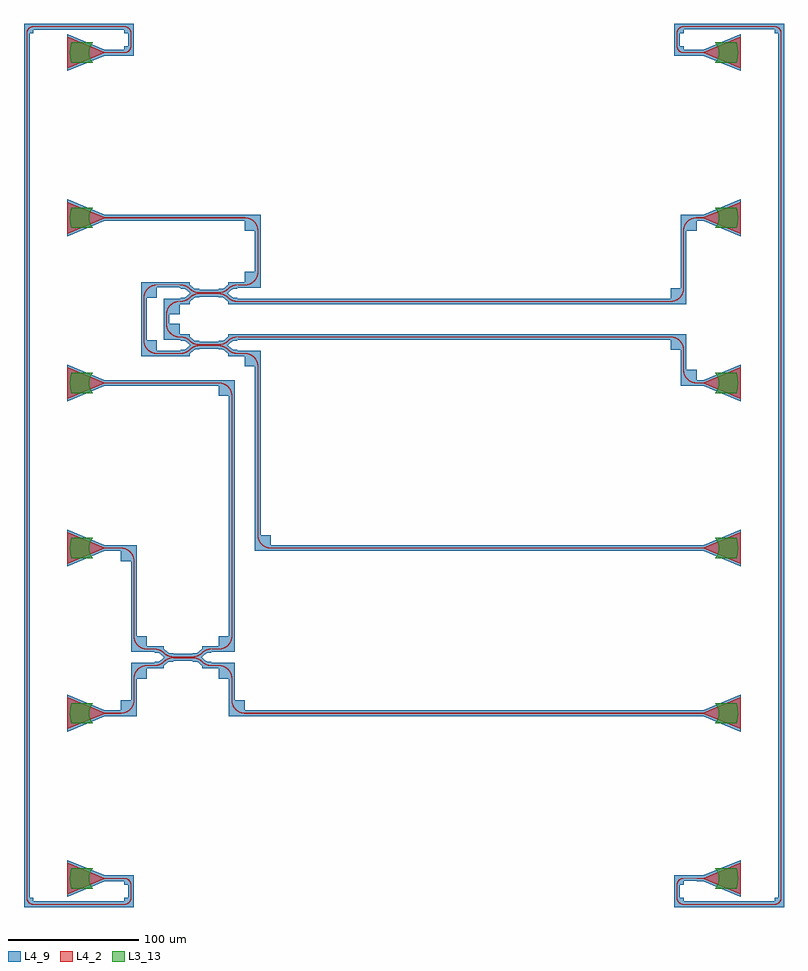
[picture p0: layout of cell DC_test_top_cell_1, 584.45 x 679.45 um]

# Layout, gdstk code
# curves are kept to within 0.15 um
from math import pi, radians
import gdstk
lib = gdstk.Library(unit=1e-6, precision=5e-09)
def R(c, l, rs):  # rectangles x0, y0, x1, y1
    for r in rs: c.add(gdstk.rectangle(r[:2], r[2:], *l))
def P(c, l, *ps):  # polygons
    for p in ps: c.add(gdstk.Polygon(p, *l))
L3_13 = (3, 13)
L4_2 = (4, 2)
L4_9 = (4, 9)

dc_test_top_cell_1fashun = lib.new_cell('DC_test_top_cell_1FAshunt')
R(dc_test_top_cell_1fashun, L4_2, [(0,-0.225,635,0.225)])
P(dc_test_top_cell_1fashun, L4_9, [(0,-2.225),(635,-2.225),(635,-0.225),(635,0.225),(635,2.225),(0,2.225),(0,0.225),(0,-0.225)])

fibcoupg_1_socket = lib.new_cell('FIBCOUPG_1_socket')
P(fibcoupg_1_socket, L4_2, [(20,-0.225),(20,0.225),(-8.74,12.095),(-8.79,12.095),(-8.79,-12.095),(-8.74,-12.095)])
P(fibcoupg_1_socket, L4_9, [(20,-2.225),(20,-0.225),(20,0.225),(20,2.225),(-8.74,14.095),(-8.79,14.095),(-8.79,12.095),(-8.79,-12.095),(-8.79,-14.095),(-8.74,-14.095)])

fibcoupg_1_grating = lib.new_cell('FIBCOUPG_1_grating')
P(fibcoupg_1_grating, L3_13, [(10.6,7.76),(10.635,7.65),(9.89,6.635),(9.255,5.55),(8.59,4.01),(8.34,3.21),(8.105,2.19),(7.96,1.15),(7.91,0.315),(7.93,-0.735),(8.01,-1.57),(8.235,-2.805),(8.46,-3.615),(8.815,-4.6),(9.255,-5.55),(9.89,-6.635),(10.635,-7.65),(10.6,-7.76),(10.505,-7.835),(10.39,-7.85),(9.75,-6.99),(9.075,-5.885),(8.695,-5.115),(8.225,-3.915),(7.93,-2.88),(7.725,-1.82),(7.615,-0.755),(7.595,0.325),(7.67,1.395),(7.84,2.46),(8.095,3.5),(8.525,4.72),(9.075,5.885),(9.75,6.99),(10.39,7.85),(10.505,7.835)],
  [(9.795,7.765),(9.84,7.655),(9.21,6.74),(8.665,5.775),(8.375,5.175),(7.97,4.14),(7.71,3.29),(7.47,2.21),(7.345,1.33),(7.28,0.22),(7.37,-1.55),(7.555,-2.645),(7.77,-3.505),(8.12,-4.56),(8.565,-5.575),(9.21,-6.74),(9.84,-7.655),(9.795,-7.765),(9.7,-7.835),(9.585,-7.845),(8.945,-6.91),(8.385,-5.92),(7.91,-4.885),(7.6,-4.03),(7.16,-2.265),(7.01,-1.135),(6.96,0),(7.01,1.135),(7.16,2.265),(7.405,3.375),(7.75,4.46),(8.28,5.715),(8.945,6.91),(9.585,7.845),(9.7,7.835)],
  [(9.015,7.765),(9.065,7.66),(8.56,6.89),(8.01,5.88),(7.635,5.04),(7.32,4.18),(7.06,3.3),(6.825,2.175),(6.705,1.26),(6.65,0.345),(6.73,-1.49),(7.06,-3.3),(7.39,-4.395),(7.815,-5.465),(8.33,-6.49),(9.065,-7.66),(8.92,-7.835),(8.805,-7.84),(8.29,-7.05),(7.73,-6.02),(7.255,-4.945),(6.88,-3.83),(6.6,-2.685),(6.445,-1.76),(6.355,-0.825),(6.335,0.355),(6.395,1.29),(6.555,2.455),(6.815,3.605),(7.175,4.725),(7.73,6.02),(8.29,7.05),(8.805,7.84),(8.92,7.835)],
  [(8.255,7.77),(8.305,7.665),(7.8,6.835),(7.255,5.755),(6.655,4.175),(6.455,3.475),(6.205,2.29),(6.08,1.33),(6.02,0.365),(6.03,-0.605),(6.105,-1.57),(6.205,-2.29),(6.455,-3.475),(6.805,-4.63),(7.255,-5.755),(7.8,-6.835),(8.305,-7.665),(8.255,-7.77),(8.155,-7.835),(8.04,-7.835),(7.41,-6.775),(6.97,-5.885),(6.68,-5.2),(6.28,-4.03),(6.035,-3.07),(5.855,-2.095),(5.745,-1.115),(5.705,0.37),(5.765,1.36),(5.985,2.83),(6.28,4.03),(6.51,4.735),(6.97,5.885),(7.65,7.205),(8.04,7.835),(8.155,7.835)],
  [(7.51,7.77),(7.56,7.67),(7.06,6.79),(6.525,5.65),(5.94,3.985),(5.7,3.005),(5.525,2.01),(5.39,0.25),(5.465,-1.51),(5.605,-2.51),(5.81,-3.495),(6.085,-4.47),(6.525,-5.65),(7.06,-6.79),(7.56,-7.67),(7.51,-7.77),(7.29,-7.83),(6.44,-6.245),(6.135,-5.535),(5.71,-4.32),(5.445,-3.32),(5.25,-2.31),(5.15,-1.545),(5.07,0),(5.15,1.545),(5.25,2.31),(5.445,3.32),(5.785,4.565),(6.135,5.535),(6.78,6.935),(7.29,7.83)],
  [(6.775,7.77),(6.83,7.67),(6.33,6.74),(5.895,5.78),(5.3,4.035),(4.92,2.23),(4.805,1.185),(4.76,0.13),(4.825,-1.445),(5.11,-3.27),(5.45,-4.54),(5.895,-5.78),(6.33,-6.74),(6.83,-7.67),(6.775,-7.77),(6.555,-7.83),(6.045,-6.88),(5.605,-5.9),(5.23,-4.89),(4.93,-3.86),(4.65,-2.545),(4.54,-1.745),(4.445,0.135),(4.49,1.21),(4.61,2.28),(4.805,3.335),(5.07,4.38),(5.505,5.65),(6.045,6.88),(6.555,7.83)],
  [(6.05,7.775),(6.105,7.675),(5.49,6.44),(5.08,5.415),(4.595,3.83),(4.28,2.2),(4.13,0.275),(4.135,-0.55),(4.215,-1.655),(4.53,-3.56),(4.815,-4.625),(5.175,-5.67),(5.605,-6.69),(6.105,-7.675),(6.05,-7.775),(5.945,-7.83),(5.83,-7.825),(5.09,-6.305),(4.69,-5.255),(4.36,-4.175),(4.055,-2.805),(3.93,-1.965),(3.81,0),(3.93,1.965),(4.165,3.355),(4.435,4.45),(4.88,5.785),(5.44,7.075),(5.83,7.825)],
  [(5.335,7.775),(5.39,7.68),(4.895,6.65),(4.38,5.32),(3.91,3.675),(3.585,1.71),(3.5,0.285),(3.505,-0.57),(3.585,-1.71),(3.85,-3.4),(4.205,-4.78),(4.57,-5.86),(5.39,-7.68),(5.335,-7.775),(5.225,-7.83),(5.11,-7.82),(4.495,-6.51),(4.08,-5.425),(3.67,-4.03),(3.305,-2.03),(3.18,0),(3.245,1.45),(3.385,2.605),(3.82,4.59),(4.175,5.695),(4.85,7.305),(5.11,7.82),(5.225,7.83)],
  [(4.625,7.775),(4.685,7.68),(3.875,5.785),(3.595,4.945),(3.295,3.8),(2.99,2.06),(2.87,0.295),(2.93,-1.475),(3.23,-3.515),(3.775,-5.505),(4.08,-6.335),(4.685,-7.68),(4.625,-7.775),(4.515,-7.83),(4.405,-7.82),(3.9,-6.73),(3.475,-5.605),(3.055,-4.165),(2.81,-2.99),(2.68,-2.095),(2.55,0),(2.68,2.095),(2.865,3.285),(3.13,4.455),(3.475,5.605),(4.02,7.005),(4.405,7.82),(4.515,7.83)],
  [(3.92,7.78),(3.985,7.685),(3.28,5.99),(2.99,5.12),(2.68,3.94),(2.365,2.135),(2.24,0.305),(2.26,-0.915),(2.33,-1.83),(2.555,-3.34),(2.75,-4.235),(3.08,-5.41),(3.495,-6.565),(3.985,-7.685),(3.815,-7.83),(3.7,-7.815),(3.2,-6.68),(2.78,-5.51),(2.445,-4.31),(2.245,-3.4),(2.055,-2.17),(1.945,-0.93),(1.92,0),(1.965,1.245),(2.095,2.48),(2.305,3.705),(2.52,4.615),(2.98,6.095),(3.44,7.255),(3.7,7.815),(3.815,7.83)],
  [(3.225,7.78),(3.29,7.685),(2.585,5.92),(2.22,4.705),(2,3.78),(1.74,2.215),(1.61,0.315),(1.675,-1.585),(1.935,-3.465),(2.14,-4.395),(2.485,-5.615),(2.8,-6.515),(3.29,-7.685),(3.225,-7.78),(3.115,-7.83),(3.005,-7.815),(2.505,-6.625),(2.09,-5.405),(1.76,-4.16),(1.515,-2.89),(1.39,-1.93),(1.29,0),(1.39,1.93),(1.57,3.21),(1.835,4.47),(2.285,6.02),(2.745,7.225),(3.005,7.815),(3.115,7.83)],
  [(2.535,7.78),(2.6,7.69),(1.895,5.84),(1.385,3.93),(1.115,2.3),(0.98,0.33),(1.05,-1.645),(1.26,-3.28),(1.535,-4.57),(1.795,-5.525),(2.11,-6.465),(2.6,-7.69),(2.425,-7.83),(2.31,-7.81),(1.7,-6.255),(1.15,-4.32),(0.895,-3.005),(0.765,-2.005),(0.66,0),(0.765,2.005),(0.895,3.005),(1.15,4.32),(1.595,5.935),(2.05,7.195),(2.31,7.81),(2.425,7.83)],
  [(1.845,7.78),(1.915,7.69),(1.22,5.795),(0.725,3.84),(0.435,1.845),(0.35,0.17),(0.405,-1.51),(0.605,-3.18),(0.795,-4.17),(1.125,-5.475),(1.43,-6.435),(1.915,-7.69),(1.735,-7.83),(1.625,-7.81),(1.245,-6.86),(0.82,-5.56),(0.485,-4.235),(0.295,-3.23),(0.12,-1.875),(0.035,0.17),(0.09,1.535),(0.195,2.555),(0.56,4.57),(0.92,5.89),(1.495,7.495),(1.625,7.81),(1.735,7.83)],
  [(1.165,7.785),(1.23,7.69),(0.535,5.705),(0.115,4.005),(-0.155,2.275),(-0.28,0.175),(-0.22,-1.575),(-0.01,-3.315),(0.44,-5.37),(0.745,-6.375),(1.23,-7.69),(1.165,-7.785),(1.055,-7.83),(0.94,-7.81),(0.56,-6.81),(0.135,-5.45),(-0.12,-4.415),(-0.47,-2.31),(-0.58,-0.89),(-0.595,0.18),(-0.47,2.31),(-0.26,3.72),(-0.04,4.765),(0.445,6.475),(0.94,7.81),(1.055,7.83)],
  [(0.485,7.785),(0.555,7.695),(-0.035,6),(-0.545,3.915),(-0.8,2.145),(-0.91,0.36),(-0.865,-1.43),(-0.665,-3.21),(-0.475,-4.265),(-0.135,-5.655),(0.555,-7.695),(0.375,-7.83),(0.26,-7.805),(-0.115,-6.785),(-0.435,-5.745),(-0.78,-4.33),(-1.115,-2.175),(-1.23,0),(-1.18,1.455),(-1.075,2.54),(-0.705,4.685),(-0.335,6.09),(0.13,7.47),(0.26,7.805),(0.375,7.83)],
  [(-0.19,7.785),(-0.12,7.695),(-0.815,5.555),(-1.22,3.73),(-1.425,2.245),(-1.54,0.375),(-1.49,-1.495),(-1.28,-3.36),(-0.815,-5.555),(-0.12,-7.695),(-0.19,-7.785),(-0.305,-7.825),(-0.415,-7.805),(-0.91,-6.37),(-1.46,-4.155),(-1.74,-2.275),(-1.86,0),(-1.74,2.275),(-1.385,4.53),(-1.015,6.005),(-0.55,7.45),(-0.415,7.805)],
  [(-0.865,7.785),(-0.795,7.695),(-1.38,5.87),(-1.81,4.005),(-2.035,2.485),(-2.17,0.19),(-2.105,-1.725),(-1.935,-3.245),(-1.48,-5.5),(-0.795,-7.695),(-0.865,-7.785),(-0.98,-7.825),(-1.09,-7.805),(-1.58,-6.33),(-2.12,-4.06),(-2.42,-1.75),(-2.485,0.195),(-2.345,2.52),(-1.965,4.82),(-1.58,6.33),(-1.09,7.805)],
  [(-1.535,7.785),(-1.465,7.7),(-2.045,5.825),(-2.465,3.905),(-2.72,1.96),(-2.8,0.395),(-2.75,-1.57),(-2.585,-3.13),(-2.145,-5.445),(-1.465,-7.7),(-1.535,-7.785),(-1.65,-7.825),(-1.76,-7.8),(-2.135,-6.67),(-2.45,-5.52),(-2.705,-4.35),(-2.995,-2.385),(-3.12,0),(-2.995,2.385),(-2.705,4.35),(-2.35,5.905),(-1.89,7.425),(-1.76,7.8),(-1.65,7.825)],
  [(-2.205,7.79),(-2.13,7.7),(-2.71,5.775),(-3.185,3.405),(-3.365,1.81),(-3.43,0.2),(-3.39,-1.405),(-3.24,-3.01),(-3.055,-4.2),(-2.805,-5.38),(-2.5,-6.55),(-2.13,-7.7),(-2.205,-7.79),(-2.32,-7.825),(-2.43,-7.8),(-2.8,-6.635),(-3.115,-5.455),(-3.365,-4.255),(-3.675,-1.835),(-3.745,0.205),(-3.705,1.425),(-3.6,2.645),(-3.205,5.055),(-2.8,6.635),(-2.43,7.8)],
  [(-2.87,7.79),(-2.795,7.7),(-3.375,5.72),(-3.71,4.105),(-3.975,2.06),(-4.06,0.41),(-4.03,-1.235),(-3.89,-2.88),(-3.71,-4.105),(-3.375,-5.72),(-2.795,-7.7),(-2.87,-7.79),(-2.985,-7.825),(-3.095,-7.8),(-3.465,-6.605),(-3.775,-5.39),(-4.02,-4.16),(-4.29,-2.085),(-4.38,0),(-4.29,2.085),(-4.15,3.335),(-3.945,4.57),(-3.575,6.2),(-3.095,7.8)],
  [(-3.535,7.79),(-3.46,7.7),(-4.035,5.665),(-4.43,3.585),(-4.62,1.905),(-4.69,0.21),(-4.65,-1.48),(-4.49,-3.165),(-4.13,-5.25),(-3.825,-6.485),(-3.46,-7.7),(-3.535,-7.79),(-3.65,-7.825),(-3.76,-7.8),(-4.015,-6.98),(-4.605,-4.475),(-4.935,-1.925),(-5.005,0.215),(-4.895,2.355),(-4.525,4.9),(-4.24,6.155),(-3.76,7.8)],
  [(-4.2,7.79),(-4.12,7.705),(-4.595,6.03),(-5.02,3.895),(-5.23,2.17),(-5.32,0.435),(-5.29,-1.305),(-5.14,-3.035),(-4.95,-4.325),(-4.695,-5.605),(-4.12,-7.705),(-4.31,-7.825),(-4.425,-7.795),(-4.675,-6.955),(-5,-5.675),(-5.26,-4.38),(-5.545,-2.2),(-5.64,0),(-5.545,2.2),(-5.395,3.51),(-5.18,4.815),(-4.9,6.105),(-4.425,7.795),(-4.31,7.825)],
  [(-4.86,7.79),(-4.785,7.705),(-5.355,5.545),(-5.675,3.785),(-5.875,2.01),(-5.95,0.225),(-5.93,-1.115),(-5.79,-2.9),(-5.605,-4.225),(-5.355,-5.545),(-4.785,-7.705),(-4.86,-7.79),(-4.975,-7.825),(-5.085,-7.795),(-5.455,-6.49),(-5.915,-4.28),(-6.19,-2.035),(-6.265,0.225),(-6.15,2.485),(-5.84,4.725),(-5.455,6.49),(-5.085,7.795),(-4.975,7.825)],
  [(-5.52,7.79),(-5.44,7.705),(-5.915,5.925),(-6.33,3.665),(-6.485,2.295),(-6.58,0.46),(-6.545,-1.38),(-6.39,-3.21),(-6.01,-5.48),(-5.44,-7.705),(-5.635,-7.825),(-5.745,-7.795),(-6.115,-6.45),(-6.57,-4.17),(-6.835,-1.86),(-6.9,0),(-6.86,1.395),(-6.755,2.785),(-6.495,4.63),(-6.115,6.45),(-5.745,7.795),(-5.635,7.825)])

fibcoupg_1 = lib.new_cell('FIBCOUPG_1')
fibcoupg_1.add(gdstk.Reference(fibcoupg_1_socket, (0,0)))
fibcoupg_1.add(gdstk.Reference(fibcoupg_1_grating, (0,0)))

dc_test_top_cell_1fa_lin = lib.new_cell('DC_test_top_cell_1FA_link1')
R(dc_test_top_cell_1fa_lin, L4_2, [(20,-0.225,25,0.225)])
P(dc_test_top_cell_1fa_lin, L4_2, [(25,-0.225),(35.665,-0.27),(36.71,-0.54),(37.67,-1.04),(38.55,-1.805),(39.095,-2.54),(39.59,-3.685),(39.77,-4.75),(39.73,-15.665),(39.59,-16.315),(39.33,-17.02),(38.605,-18.135),(38.07,-18.66),(37.46,-19.095),(36.71,-19.46),(36.075,-19.655),(35.085,-19.775),(-35.085,-19.775),(-36.155,-19.635),(-36.71,-19.46),(-37.46,-19.095),(-38.435,-18.315),(-38.815,-17.875),(-39.255,-17.17),(-39.67,-15.995),(-39.775,-15.085),(-39.775,0),(-40.225,0),(-40.225,-15.09),(-40.07,-16.265),(-39.775,-17.125),(-39.48,-17.69),(-39.005,-18.36),(-38.36,-19.005),(-37.615,-19.525),(-36.87,-19.88),(-35.995,-20.13),(-35.275,-20.22),(35.09,-20.225),(36.265,-20.07),(36.87,-19.88),(37.615,-19.525),(38.145,-19.175),(38.76,-18.63),(39.175,-18.145),(39.615,-17.455),(39.97,-16.615),(40.13,-15.995),(40.225,-15.09),(40.22,-4.725),(40.025,-3.56),(39.525,-2.385),(38.945,-1.57),(37.995,-0.72),(36.87,-0.12),(35.725,0.175),(35.09,0.225),(25,0.225)])
R(dc_test_top_cell_1fa_lin, L4_9, [(-42.225,-22.225,-35,-15), (35,-22.225,42.225,-15), (35,-5,42.225,2.225)])
P(dc_test_top_cell_1fa_lin, L4_9, [(20,2.225),(20,0.225),(20,-0.225),(20,-2.225),(25,-2.225),(25,-0.225),(25,0.225),(25,2.225)],
  [(25,-2.225),(35.195,-2.23),(36.43,-2.62),(37.275,-3.41),(37.775,-4.905),(37.75,-15.385),(36.995,-16.93),(35.625,-17.705),(-35.625,-17.705),(-36.995,-16.93),(-37.75,-15.385),(-37.775,0),(-42.225,0),(-42.225,-15.125),(-42.04,-16.625),(-41.195,-18.72),(-39.74,-20.455),(-37.825,-21.65),(-35.63,-22.2),(35.125,-22.225),(36.625,-22.04),(38.505,-21.32),(40.11,-20.11),(41.32,-18.505),(42.04,-16.625),(42.225,-15.125),(42.215,-4.62),(41.91,-2.89),(41.195,-1.28),(40.37,-0.165),(39.145,0.92),(36.625,2.04),(35.125,2.225),(25,2.225)])

c_dc_test_top_cell_1fa_lin = lib.new_cell('DC_test_top_cell_1FA_link2')
R(c_dc_test_top_cell_1fa_lin, L4_2, [(20,634.775,25,635.225)])
P(c_dc_test_top_cell_1fa_lin, L4_2, [(25,634.775),(35.09,634.775),(35.995,634.87),(37.125,635.225),(38.145,635.825),(39.005,636.64),(39.615,637.545),(40.025,638.56),(40.22,639.725),(40.225,650.09),(40.13,650.995),(39.97,651.615),(39.615,652.455),(39.175,653.145),(38.76,653.63),(38.145,654.175),(37.615,654.525),(36.87,654.88),(36.265,655.07),(35.09,655.225),(-35.275,655.22),(-35.995,655.13),(-36.87,654.88),(-37.615,654.525),(-38.36,654.005),(-39.005,653.36),(-39.48,652.69),(-39.775,652.125),(-40.07,651.265),(-40.225,650.09),(-40.225,635),(-39.775,635),(-39.775,650.085),(-39.67,650.995),(-39.255,652.17),(-38.815,652.875),(-38.435,653.315),(-37.46,654.095),(-36.71,654.46),(-36.155,654.635),(-35.085,654.775),(35.085,654.775),(36.155,654.635),(36.71,654.46),(37.46,654.095),(38.07,653.66),(38.605,653.135),(39.33,652.02),(39.59,651.315),(39.73,650.665),(39.77,639.75),(39.59,638.685),(39.095,637.54),(38.605,636.865),(37.875,636.185),(37.02,635.67),(36.075,635.345),(35.085,635.225),(25,635.225)])
R(c_dc_test_top_cell_1fa_lin, L4_9, [(35,632.775,42.225,640), (-42.225,650,-35,657.225), (35,650,42.225,657.225)])
P(c_dc_test_top_cell_1fa_lin, L4_9, [(20,637.225),(20,635.225),(20,634.775),(20,632.775),(25,632.775),(25,634.775),(25,635.225),(25,637.225)],
  [(25,632.775),(35.125,632.775),(36.625,632.96),(38.055,633.45),(39.45,634.305),(40.535,635.355),(41.44,636.72),(41.98,638.13),(42.215,639.62),(42.225,650.125),(42.04,651.625),(41.32,653.505),(40.11,655.11),(38.505,656.32),(36.87,656.98),(35.125,657.225),(-35.63,657.2),(-37.705,656.7),(-39.645,655.535),(-41.06,653.935),(-41.98,651.87),(-42.225,650.125),(-42.225,635),(-37.775,635),(-37.75,650.385),(-36.995,651.93),(-35.625,652.705),(35.81,652.655),(37.125,651.785),(37.75,650.385),(37.775,639.905),(37.45,638.695),(36.59,637.725),(35.385,637.25),(25,637.225)])

dc_test_top_cell_1fa = lib.new_cell('DC_test_top_cell_1FA')
dc_test_top_cell_1fa.add(gdstk.Reference(dc_test_top_cell_1fashun, (-40,0), rotation=pi/2))
dc_test_top_cell_1fa.add(gdstk.Reference(fibcoupg_1, (0,127)))
dc_test_top_cell_1fa.add(gdstk.Reference(fibcoupg_1, (0,0)))
dc_test_top_cell_1fa.add(gdstk.Reference(fibcoupg_1, (0,381)))
dc_test_top_cell_1fa.add(gdstk.Reference(fibcoupg_1, (0,254)))
dc_test_top_cell_1fa.add(gdstk.Reference(fibcoupg_1, (0,635)))
dc_test_top_cell_1fa.add(gdstk.Reference(fibcoupg_1, (0,508)))
dc_test_top_cell_1fa.add(gdstk.Reference(dc_test_top_cell_1fa_lin, (0,0)))
dc_test_top_cell_1fa.add(gdstk.Reference(c_dc_test_top_cell_1fa_lin, (0,0)))

dc_test_top_cell_1dctrac = lib.new_cell('DC_test_top_cell_1dctrace')
P(dc_test_top_cell_1dctrac, L4_2, [(-4.145,-0.225),(-2.78,-0.32),(-1.775,-0.515),(-0.8,-0.815),(0.295,-1.29),(1.04,-1.71),(1.875,-2.295),(3.57,-3.835),(4.275,-4.375),(5.34,-5.03),(6.31,-5.48),(7.325,-5.83),(8.545,-6.1),(9.785,-6.22),(11,-6.225),(11,-5.775),(9.29,-5.74),(8.275,-5.595),(6.8,-5.185),(5.705,-4.71),(4.96,-4.29),(4.125,-3.705),(2.43,-2.165),(1.725,-1.625),(0.66,-0.97),(-0.31,-0.52),(-1.84,-0.035),(-3.43,0.2),(-4.145,0.225)])
R(dc_test_top_cell_1dctrac, L4_9, [(3.07,-8.225,10.14,-3.07), (-4.14,-2.93,2.93,2.225)])
P(dc_test_top_cell_1dctrac, L4_9, [(-4.005,-2.225),(-2.26,-2.455),(-0.61,-3.07),(3.305,-6.135),(5.76,-7.415),(8.23,-8.075),(11,-8.225),(11,-3.775),(8.525,-3.605),(6.61,-2.93),(2.695,0.135),(0.24,1.415),(-2.02,2.04),(-4.145,2.225)])

straight_dc_1wg = lib.new_cell('straight_DC_1wg')
R(straight_dc_1wg, L4_2, [(-7.495,-0.225,7.495,0.225)])
P(straight_dc_1wg, L4_9, [(-7.495,-2.225),(7.495,-2.225),(7.495,-0.225),(7.495,0.225),(7.495,2.225),(-7.495,2.225),(-7.495,0.225),(-7.495,-0.225)])

straight_dc_1 = lib.new_cell('straight_DC_1')
straight_dc_1.add(gdstk.Reference(straight_dc_1wg, (0,0.34)))
straight_dc_1.add(gdstk.Reference(straight_dc_1wg, (0,-0.34)))

dc_test_top_cell_1dc = lib.new_cell('DC_test_top_cell_1dc')
dc_test_top_cell_1dc.add(gdstk.Reference(dc_test_top_cell_1dctrac, (11.64,0.34), x_reflection=True))
dc_test_top_cell_1dc.add(gdstk.Reference(dc_test_top_cell_1dctrac, (11.64,-0.34)))
dc_test_top_cell_1dc.add(gdstk.Reference(dc_test_top_cell_1dctrac, (-11.64,0.34), rotation=pi))
dc_test_top_cell_1dc.add(gdstk.Reference(straight_dc_1, (0,0)))
dc_test_top_cell_1dc.add(gdstk.Reference(dc_test_top_cell_1dctrac, (-11.64,-0.34), rotation=pi, x_reflection=True))

wg_trace_1 = lib.new_cell('WG_TRACE_1')
R(wg_trace_1, L4_2, [(0,-0.225,1,0.225)])
P(wg_trace_1, L4_9, [(0,-2.225),(1,-2.225),(1,-0.225),(1,0.225),(1,2.225),(0,2.225),(0,0.225),(0,-0.225)])

dc_test_top_cell_1mzidct = lib.new_cell('DC_test_top_cell_1MZIDCtrace')
P(dc_test_top_cell_1mzidct, L4_2, [(-4.145,-0.225),(-2.78,-0.32),(-1.775,-0.515),(-0.8,-0.815),(0.295,-1.29),(1.04,-1.71),(1.875,-2.295),(3.57,-3.835),(4.275,-4.375),(5.34,-5.03),(6.31,-5.48),(7.325,-5.83),(8.545,-6.1),(9.785,-6.22),(11,-6.225),(11,-5.775),(9.29,-5.74),(8.275,-5.595),(6.8,-5.185),(5.705,-4.71),(4.96,-4.29),(4.125,-3.705),(2.43,-2.165),(1.725,-1.625),(0.66,-0.97),(-0.31,-0.52),(-1.84,-0.035),(-3.43,0.2),(-4.145,0.225)])
R(dc_test_top_cell_1mzidct, L4_9, [(3.07,-8.225,10.14,-3.07), (-4.14,-2.93,2.93,2.225)])
P(dc_test_top_cell_1mzidct, L4_9, [(-4.005,-2.225),(-2.26,-2.455),(-0.61,-3.07),(3.305,-6.135),(5.76,-7.415),(8.23,-8.075),(11,-8.225),(11,-3.775),(8.525,-3.605),(6.61,-2.93),(2.695,0.135),(0.24,1.415),(-2.02,2.04),(-4.145,2.225)])

straight_dc_3wg = lib.new_cell('straight_DC_3wg')
R(straight_dc_3wg, L4_2, [(-7.495,-0.225,7.495,0.225)])
P(straight_dc_3wg, L4_9, [(-7.495,-2.225),(7.495,-2.225),(7.495,-0.225),(7.495,0.225),(7.495,2.225),(-7.495,2.225),(-7.495,0.225),(-7.495,-0.225)])

straight_dc_3 = lib.new_cell('straight_DC_3')
straight_dc_3.add(gdstk.Reference(straight_dc_3wg, (0,0.34)))
straight_dc_3.add(gdstk.Reference(straight_dc_3wg, (0,-0.34)))

dc_test_top_cell_1mzidc = lib.new_cell('DC_test_top_cell_1MZIDC')
dc_test_top_cell_1mzidc.add(gdstk.Reference(dc_test_top_cell_1mzidct, (11.64,0.34), x_reflection=True))
dc_test_top_cell_1mzidc.add(gdstk.Reference(dc_test_top_cell_1mzidct, (11.64,-0.34)))
dc_test_top_cell_1mzidc.add(gdstk.Reference(dc_test_top_cell_1mzidct, (-11.64,0.34), rotation=pi))
dc_test_top_cell_1mzidc.add(gdstk.Reference(straight_dc_3, (0,0)))
dc_test_top_cell_1mzidc.add(gdstk.Reference(dc_test_top_cell_1mzidct, (-11.64,-0.34), rotation=pi, x_reflection=True))

dc_test_top_cell_1mzi_li = lib.new_cell('DC_test_top_cell_1MZI_link1')
P(dc_test_top_cell_1mzi_li, L4_2, [(22.64,-6.565),(23.49,-6.6),(24.505,-6.745),(25.5,-6.99),(26.3,-7.275),(27.08,-7.63),(27.965,-8.14),(28.66,-8.635),(29.43,-9.31),(30.13,-10.055),(30.745,-10.875),(31.64,-12.52),(32.165,-14.14),(32.32,-14.98),(32.415,-16.17),(32.38,-24.51),(32.235,-25.525),(31.99,-26.52),(31.64,-27.48),(31.19,-28.4),(30.55,-29.405),(29.79,-30.325),(28.925,-31.15),(27.965,-31.86),(26.77,-32.52),(25.5,-33.01),(24.17,-33.315),(22.64,-33.435),(22.64,-33.885),(22.82,-33.885),(24.24,-33.76),(25.46,-33.49),(26.8,-33),(27.755,-32.515),(28.795,-31.825),(29.745,-31.015),(30.805,-29.815),(31.495,-28.775),(31.98,-27.82),(32.31,-26.99),(32.605,-25.96),(32.81,-24.73),(32.865,-23.84),(32.865,-16.16),(32.79,-15.095),(32.605,-14.04),(32.31,-13.01),(31.98,-12.18),(31.495,-11.225),(31.015,-10.475),(30.475,-9.765),(29.615,-8.86),(28.795,-8.175),(27.905,-7.575),(26.8,-7),(25.97,-6.67),(24.415,-6.27),(22.995,-6.12),(22.64,-6.115)])
R(dc_test_top_cell_1mzi_li, L4_9, [(22.64,-35.885,34.865,-23.66), (22.64,-16.34,34.865,-4.115)])
P(dc_test_top_cell_1mzi_li, L4_9, [(22.64,-8.565),(25.555,-9.13),(26.99,-9.895),(28.14,-10.84),(29.085,-11.99),(29.85,-13.425),(30.415,-16.205),(30.405,-24.065),(29.9,-26.445),(28.85,-28.34),(27.1,-30.03),(25.045,-31.055),(22.64,-31.435),(22.64,-35.885),(22.855,-35.885),(25.805,-35.47),(28.755,-34.245),(31.285,-32.305),(33.12,-29.955),(34.2,-27.64),(34.775,-25.15),(34.865,-16.125),(34.45,-13.175),(33.435,-10.6),(31.725,-8.16),(29.3,-6.085),(26.215,-4.65),(22.64,-4.115)])

c_dc_test_top_cell_1mzi_li = lib.new_cell('DC_test_top_cell_1MZI_link2')
P(c_dc_test_top_cell_1mzi_li, L4_2, [(22.64,6.115),(40.85,6.08),(42.365,5.825),(43.82,5.34),(45.325,4.54),(46.665,3.49),(47.705,2.36),(48.2,1.665),(48.71,0.78),(49.35,-0.8),(49.655,-2.13),(49.775,-3.49),(49.775,-20),(50.225,-20),(50.225,-3.48),(50.15,-2.415),(49.78,-0.67),(49.03,1.14),(48.165,2.495),(46.975,3.82),(45.57,4.915),(44.16,5.68),(42.82,6.17),(41.07,6.51),(40.18,6.565),(22.64,6.565)])
R(c_dc_test_top_cell_1mzi_li, L4_9, [(40,-3.66,52.225,8.565)])
P(c_dc_test_top_cell_1mzi_li, L4_9, [(22.64,4.115),(40.68,4.085),(42.915,3.55),(45,2.295),(46.8,0.11),(47.7,-2.58),(47.775,-20),(52.225,-20),(52.225,-3.445),(52.04,-1.535),(51.49,0.52),(50.48,2.635),(49.365,4.2),(47.695,5.84),(44.775,7.595),(41.28,8.5),(22.64,8.565)])

c_dc_test_top_cell_1mzi_li_ = lib.new_cell('DC_test_top_cell_1MZI_link3')
P(c_dc_test_top_cell_1mzi_li_, L4_2, [(49.775,-21),(49.775,-36.51),(49.68,-37.7),(49.35,-39.2),(48.71,-40.78),(48.2,-41.665),(47.705,-42.36),(46.665,-43.49),(45.325,-44.54),(44.13,-45.2),(42.86,-45.69),(41.36,-46.02),(40.17,-46.115),(22.64,-46.115),(22.64,-46.565),(40.18,-46.565),(41.07,-46.51),(42.82,-46.17),(44.16,-45.68),(45.57,-44.915),(46.975,-43.82),(48.165,-42.495),(49.03,-41.14),(49.78,-39.33),(50.15,-37.585),(50.225,-36.52),(50.225,-21)])
R(c_dc_test_top_cell_1mzi_li_, L4_9, [(40,-48.565,52.225,-36.34)])
P(c_dc_test_top_cell_1mzi_li_, L4_9, [(47.775,-21),(47.745,-37.02),(47.105,-39.5),(45.78,-41.54),(43.53,-43.27),(40.95,-44.055),(22.64,-44.115),(22.64,-48.565),(41.91,-48.415),(43.98,-47.9),(45.74,-47.135),(47.525,-45.975),(49.085,-44.52),(50.255,-43),(51.17,-41.31),(52.135,-37.83),(52.225,-21)])

dc_test_top_cell_1mzi = lib.new_cell('DC_test_top_cell_1MZI')
dc_test_top_cell_1mzi.add(gdstk.Reference(wg_trace_1, (50,-20), rotation=3*pi/2))
dc_test_top_cell_1mzi.add(gdstk.Reference(dc_test_top_cell_1mzidc, (0,0)))
dc_test_top_cell_1mzi.add(gdstk.Reference(dc_test_top_cell_1mzidc, (0,-40), rotation=pi))
dc_test_top_cell_1mzi.add(gdstk.Reference(dc_test_top_cell_1mzi_li, (0,0)))
dc_test_top_cell_1mzi.add(gdstk.Reference(c_dc_test_top_cell_1mzi_li, (0,0)))
dc_test_top_cell_1mzi.add(gdstk.Reference(c_dc_test_top_cell_1mzi_li_, (0,0)))

dc_test_top_cell_1_link1 = lib.new_cell('DC_test_top_cell_1_link1')
R(dc_test_top_cell_1_link1, L4_2, [(20,126.775,25,127.225), (52.36,163.435,57.36,163.885)])
P(dc_test_top_cell_1_link1, L4_2, [(25,126.775),(32.715,126.78),(33.96,126.9),(35.18,127.17),(36.52,127.66),(38.08,128.525),(39.335,129.52),(40.525,130.845),(41.215,131.885),(41.84,133.17),(42.325,134.7),(42.53,135.93),(42.585,136.82),(42.59,154),(42.765,155.525),(43.175,157.005),(43.65,158.1),(44.45,159.405),(45.33,160.45),(46.34,161.365),(47.62,162.21),(49.015,162.845),(49.995,163.145),(50.83,163.315),(52.36,163.435),(52.36,163.885),(50.76,163.76),(49.37,163.44),(47.88,162.85),(46.495,162.035),(45.255,161.015),(44.195,159.815),(43.33,158.46),(42.75,157.155),(42.29,155.435),(42.14,154.015),(42.1,136.15),(41.885,134.8),(41.545,133.655),(41.07,132.56),(40.27,131.255),(39.39,130.21),(38.105,129.09),(36.8,128.29),(35.22,127.65),(33.89,127.345),(32.7,127.23),(25,127.225)])
R(dc_test_top_cell_1_link1, L4_9, [(32.36,124.775,44.585,137), (40.135,153.66,52.36,165.885)])
P(dc_test_top_cell_1_link1, L4_9, [(20,129.225),(20,127.225),(20,126.775),(20,124.775),(25,124.775),(25,126.775),(25,127.225),(25,129.225)],
  [(57.36,161.435),(57.36,163.435),(57.36,163.885),(57.36,165.885),(52.36,165.885),(52.36,163.885),(52.36,163.435),(52.36,161.435)],
  [(25,124.775),(33,124.79),(35.935,125.31),(37.91,126.105),(39.715,127.235),(41.445,128.82),(42.615,130.34),(43.92,133.02),(44.54,135.935),(44.585,153.795),(44.885,155.805),(45.99,158.12),(47.68,159.87),(49.955,161.055),(52.36,161.435),(52.36,165.885),(48.785,165.35),(45.7,163.915),(42.995,161.52),(41.88,159.955),(41.025,158.24),(40.4,156.2),(40.14,154.085),(40.105,136.32),(39.665,134.34),(38.805,132.65),(36.82,130.63),(34.24,129.455),(32.495,129.225),(25,129.225)])

dc_test_top_cell_1_link2 = lib.new_cell('DC_test_top_cell_1_link2')
R(dc_test_top_cell_1_link2, L4_2, [(52.36,176.115,57.36,176.565), (20,253.775,25,254.225)])
P(dc_test_top_cell_1_link2, L4_2, [(25,253.775),(33.21,253.74),(34.56,253.525),(36.02,253.065),(37.685,252.2),(38.645,251.49),(39.39,250.79),(40.065,250.02),(40.56,249.325),(41.07,248.44),(41.545,247.345),(41.955,245.865),(42.135,244.17),(42.135,186.16),(42.26,184.74),(42.69,183.01),(43.505,181.225),(44.525,179.765),(45.785,178.505),(47.245,177.485),(49.03,176.67),(50.76,176.24),(52.36,176.115),(52.36,176.565),(51.51,176.6),(50.16,176.815),(49.015,177.155),(48.23,177.48),(47.035,178.14),(45.82,179.075),(44.655,180.32),(43.65,181.9),(43.01,183.48),(42.68,184.98),(42.585,186.17),(42.585,244.18),(42.43,245.775),(42.03,247.33),(41.55,248.48),(41.03,249.42),(40.525,250.155),(39.715,251.105),(38.935,251.835),(37.93,252.575),(36.84,253.19),(35.855,253.61),(34.135,254.07),(32.54,254.225),(25,254.225)])
R(dc_test_top_cell_1_link2, L4_9, [(40.135,174.115,52.36,186.34), (32.36,244,44.585,256.225)])
P(dc_test_top_cell_1_link2, L4_9, [(20,256.225),(20,254.225),(20,253.775),(20,251.775),(25,251.775),(25,253.775),(25,254.225),(25,256.225)],
  [(57.36,174.115),(57.36,176.115),(57.36,176.565),(57.36,178.565),(52.36,178.565),(52.36,176.565),(52.36,176.115),(52.36,174.115)],
  [(25,251.775),(32.765,251.765),(35.145,251.26),(36.71,250.445),(37.955,249.4),(39.025,248.005),(39.755,246.405),(40.135,244.135),(40.135,186.125),(40.32,184.215),(40.87,182.16),(41.775,180.225),(42.995,178.48),(44.5,176.975),(46.245,175.755),(48.18,174.85),(50.235,174.3),(52.36,174.115),(52.36,178.565),(49.575,179.08),(47.26,180.47),(45.43,182.81),(44.645,185.39),(44.585,244.215),(44.4,246.125),(43.85,248.18),(42.375,251.01),(40.22,253.365),(37.72,254.99),(34.695,256),(32.575,256.225),(25,256.225)])

dc_test_top_cell_1_link3 = lib.new_cell('DC_test_top_cell_1_link3')
R(dc_test_top_cell_1_link3, L4_2, [(102.64,176.115,107.64,176.565), (20,380.775,25,381.225)])
P(dc_test_top_cell_1_link3, L4_2, [(25,380.775),(108.49,380.74),(109.84,380.525),(110.985,380.185),(112.08,379.71),(113.385,378.91),(114.43,378.03),(115.345,377.02),(116.02,376.035),(116.64,374.82),(117.165,373.2),(117.32,372.36),(117.415,371.17),(117.415,186.17),(117.32,184.98),(117.165,184.14),(116.64,182.52),(115.745,180.875),(115.13,180.055),(114.43,179.31),(113.66,178.635),(112.965,178.14),(111.3,177.275),(110.5,176.99),(109.505,176.745),(108.49,176.6),(107.64,176.565),(107.64,176.115),(108.71,176.17),(110.46,176.51),(111.8,177),(113.06,177.67),(114.215,178.505),(115.475,179.765),(116.215,180.77),(116.98,182.18),(117.42,183.35),(117.74,184.74),(117.865,186.16),(117.865,371.18),(117.79,372.245),(117.605,373.3),(117.31,374.33),(116.98,375.16),(116.31,376.42),(115.475,377.575),(114.615,378.48),(113.505,379.375),(112.44,380.03),(110.97,380.67),(109.94,380.965),(108.355,381.2),(25,381.225)])
R(dc_test_top_cell_1_link3, L4_9, [(107.64,174.115,119.865,186.34), (107.64,371,119.865,383.225)])
P(dc_test_top_cell_1_link3, L4_9, [(20,383.225),(20,381.225),(20,380.775),(20,378.775),(25,378.775),(25,380.775),(25,381.225),(25,383.225)],
  [(102.64,178.565),(102.64,176.565),(102.64,176.115),(102.64,174.115),(107.64,174.115),(107.64,176.115),(107.64,176.565),(107.64,178.565)],
  [(25,378.775),(108.045,378.765),(110.045,378.395),(112.1,377.37),(113.595,376),(114.745,374.16),(115.245,372.615),(115.415,371.135),(115.415,186.205),(114.85,183.425),(114.085,181.99),(113.14,180.84),(111.99,179.895),(110.555,179.13),(107.64,178.565),(107.64,174.115),(110.18,174.38),(112.415,175.085),(115.335,176.84),(117.655,179.33),(119.2,182.36),(119.86,185.915),(119.865,371.215),(119.6,373.54),(118.895,375.775),(117.14,378.695),(114.65,381.015),(111.62,382.56),(108.065,383.22),(25,383.225)])

dc_test_top_cell_1_link4 = lib.new_cell('DC_test_top_cell_1_link4')
R(dc_test_top_cell_1_link4, L4_2, [(122.64,456.115,127.64,456.565), (20,507.775,25,508.225)])
P(dc_test_top_cell_1_link4, L4_2, [(25,507.775),(127.81,507.775),(129.505,507.595),(130.5,507.35),(131.3,507.065),(132.38,506.55),(133.66,505.705),(134.43,505.03),(135.345,504.02),(136.02,503.035),(136.64,501.82),(136.99,500.86),(137.32,499.36),(137.415,498.17),(137.38,465.49),(137.125,463.975),(136.5,462.21),(136.02,461.305),(135.55,460.595),(134.43,459.31),(133.105,458.235),(131.77,457.48),(130.985,457.155),(129.84,456.815),(128.49,456.6),(127.64,456.565),(127.64,456.115),(129.24,456.24),(130.63,456.56),(132.12,457.15),(133.36,457.865),(134.615,458.86),(135.475,459.765),(136.495,461.225),(137.12,462.51),(137.605,464.04),(137.79,465.095),(137.865,466.16),(137.865,498.18),(137.79,499.245),(137.56,500.475),(137.12,501.83),(136.495,503.115),(135.805,504.155),(134.995,505.105),(133.795,506.165),(132.755,506.855),(131.47,507.48),(129.94,507.965),(128.885,508.15),(127.82,508.225),(25,508.225)])
R(dc_test_top_cell_1_link4, L4_9, [(127.64,454.115,139.865,466.34), (127.64,498,139.865,510.225)])
P(dc_test_top_cell_1_link4, L4_9, [(20,510.225),(20,508.225),(20,507.775),(20,505.775),(25,505.775),(25,507.775),(25,508.225),(25,510.225)],
  [(122.64,458.565),(122.64,456.565),(122.64,456.115),(122.64,454.115),(127.64,454.115),(127.64,456.115),(127.64,456.565),(127.64,458.565)],
  [(25,505.775),(127.775,505.775),(130.425,505.26),(132.1,504.37),(133.68,502.895),(134.745,501.16),(135.34,499.08),(135.405,465.935),(134.745,463.18),(133.04,460.745),(130.555,459.13),(127.64,458.565),(127.64,454.115),(131.215,454.65),(133,455.35),(134.65,456.325),(137.275,458.815),(139.055,461.96),(139.64,464.005),(139.865,466.125),(139.715,499.91),(138.81,502.97),(137.14,505.695),(134.825,507.89),(132.02,509.415),(129.975,510),(127.855,510.225),(25,510.225)])

dc_test_top_cell_1_link5 = lib.new_cell('DC_test_top_cell_1_link5')
R(dc_test_top_cell_1_link5, L4_2, [(475,126.775,480,127.225), (102.64,163.435,107.64,163.885)])
P(dc_test_top_cell_1_link5, L4_2, [(475,127.225),(126.79,127.26),(125.44,127.475),(123.98,127.935),(122.9,128.45),(121.62,129.295),(120.49,130.335),(119.535,131.535),(118.78,132.87),(118.29,134.14),(117.985,135.47),(117.865,136.83),(117.84,154.375),(117.71,155.435),(117.47,156.48),(117.12,157.49),(116.67,158.46),(116.015,159.525),(115.12,160.635),(114.215,161.495),(112.905,162.425),(111.8,163),(110.46,163.49),(109.065,163.785),(107.64,163.885),(107.64,163.435),(109.17,163.315),(110.5,163.01),(111.77,162.52),(112.965,161.86),(113.925,161.15),(114.905,160.2),(115.745,159.125),(116.35,158.1),(116.99,156.52),(117.235,155.525),(117.38,154.51),(117.415,136.82),(117.57,135.225),(117.97,133.67),(118.45,132.52),(119.165,131.28),(120.16,130.025),(121.065,129.165),(122.525,128.145),(123.81,127.52),(125.34,127.035),(126.57,126.83),(127.46,126.775),(475,126.775)])
R(dc_test_top_cell_1_link5, L4_9, [(115.415,124.775,127.64,137), (107.64,153.66,119.865,165.885)])
P(dc_test_top_cell_1_link5, L4_9, [(480,124.775),(480,126.775),(480,127.225),(480,129.225),(475,129.225),(475,127.225),(475,126.775),(475,124.775)],
  [(102.64,165.885),(102.64,163.885),(102.64,163.435),(102.64,161.435),(107.64,161.435),(107.64,163.435),(107.64,163.885),(107.64,165.885)],
  [(475,129.225),(126.96,129.255),(124.725,129.79),(122.64,131.045),(121.045,132.88),(120.165,134.855),(119.865,136.865),(119.835,154.515),(119.45,156.825),(118.435,159.4),(116.435,162.15),(113.935,164.14),(110.805,165.47),(107.64,165.885),(107.64,161.435),(110.045,161.055),(112.32,159.87),(114.085,158.01),(115.185,155.54),(115.415,153.795),(115.43,136.36),(115.78,134.04),(116.47,132.03),(118.14,129.305),(120.455,127.11),(123.26,125.585),(126.36,124.84),(475,124.775)])

dc_test_top_cell_1_link6 = lib.new_cell('DC_test_top_cell_1_link6')
R(dc_test_top_cell_1_link6, L4_2, [(475,253.775,480,254.225), (122.64,403.435,127.64,403.885)])
P(dc_test_top_cell_1_link6, L4_2, [(475,254.225),(147.47,254.225),(146.28,254.32),(145.44,254.475),(143.82,255),(142.605,255.62),(141.355,256.51),(140.375,257.46),(139.535,258.535),(138.78,259.87),(138.29,261.14),(137.985,262.47),(137.87,263.66),(137.865,393.84),(137.81,394.73),(137.47,396.48),(136.83,398.14),(136.405,398.925),(135.805,399.815),(134.615,401.14),(133.795,401.825),(133.06,402.33),(132.12,402.85),(131.305,403.205),(130.46,403.49),(129.415,403.73),(127.64,403.885),(127.64,403.435),(128.49,403.4),(129.84,403.185),(130.985,402.845),(131.77,402.52),(133.105,401.765),(134.43,400.69),(135.55,399.405),(136.02,398.695),(136.5,397.79),(137.125,396.025),(137.38,394.51),(137.42,263.645),(137.57,262.225),(137.97,260.67),(138.45,259.52),(139.165,258.28),(140.16,257.025),(141.065,256.165),(142.22,255.33),(143.48,254.66),(144.31,254.33),(145.34,254.035),(146.395,253.85),(147.46,253.775),(475,253.775)])
R(dc_test_top_cell_1_link6, L4_9, [(135.415,251.775,147.64,264), (127.64,393.66,139.865,405.885)])
P(dc_test_top_cell_1_link6, L4_9, [(480,251.775),(480,253.775),(480,254.225),(480,256.225),(475,256.225),(475,254.225),(475,253.775),(475,251.775)],
  [(122.64,405.885),(122.64,403.885),(122.64,403.435),(122.64,401.435),(127.64,401.435),(127.64,403.435),(127.64,403.885),(127.64,405.885)],
  [(475,256.225),(147.505,256.225),(146.025,256.395),(144.48,256.895),(142.64,258.045),(141.195,259.65),(140.245,261.595),(139.865,263.865),(139.8,394.94),(139.33,397.235),(138.535,399.21),(137.275,401.185),(135.82,402.745),(133.935,404.14),(132.02,405.075),(129.765,405.7),(127.64,405.885),(127.64,401.435),(130.425,400.92),(132.84,399.44),(134.63,397.07),(135.385,394.34),(135.43,263.36),(136.08,260.02),(137.625,256.99),(139.945,254.5),(142.865,252.745),(145.1,252.04),(147.425,251.775),(475,251.775)])

dc_test_top_cell_1_link7 = lib.new_cell('DC_test_top_cell_1_link7')
R(dc_test_top_cell_1_link7, L4_2, [(475,380.775,480,381.225), (122.64,416.115,127.64,416.565)])
P(dc_test_top_cell_1_link7, L4_2, [(127.64,416.115),(455.85,416.08),(457.2,415.865),(458.66,415.405),(459.74,414.89),(461.02,414.045),(462.15,413.005),(463.105,411.805),(463.86,410.47),(464.35,409.2),(464.655,407.87),(464.775,406.51),(464.8,390.285),(464.93,389.225),(465.17,388.18),(465.52,387.17),(465.97,386.2),(466.625,385.135),(467.52,384.025),(468.425,383.165),(469.735,382.235),(470.84,381.66),(472.18,381.17),(473.575,380.875),(475,380.775),(475,381.225),(473.47,381.345),(472.14,381.65),(470.87,382.14),(469.675,382.8),(468.715,383.51),(467.735,384.46),(466.895,385.535),(466.29,386.56),(465.65,388.14),(465.405,389.135),(465.26,390.15),(465.22,406.695),(465.07,408.115),(464.67,409.67),(464.19,410.82),(463.475,412.06),(462.48,413.315),(461.575,414.175),(460.115,415.195),(458.83,415.82),(457.3,416.305),(456.07,416.51),(455.18,416.565),(127.64,416.565)])
R(dc_test_top_cell_1_link7, L4_9, [(462.775,378.775,475,391), (455,406.34,467.225,418.565)])
P(dc_test_top_cell_1_link7, L4_9, [(122.64,418.565),(122.64,416.565),(122.64,416.115),(122.64,414.115),(127.64,414.115),(127.64,416.115),(127.64,416.565),(127.64,418.565)],
  [(480,378.775),(480,380.775),(480,381.225),(480,383.225),(475,383.225),(475,381.225),(475,380.775),(475,378.775)],
  [(127.64,414.115),(455.68,414.085),(457.915,413.55),(460,412.295),(461.595,410.46),(462.475,408.485),(462.775,406.475),(462.82,389.935),(463.31,387.425),(464.205,385.26),(466.205,382.51),(468.705,380.52),(471.835,379.19),(475,378.775),(475,383.225),(472.595,383.605),(470.32,384.79),(468.63,386.54),(467.525,388.855),(467.225,390.865),(467.21,406.98),(466.81,409.505),(465.99,411.7),(464.365,414.2),(462.01,416.355),(459.18,417.83),(456.28,418.5),(127.64,418.565)])

dc_test_top_cell_1_link8 = lib.new_cell('DC_test_top_cell_1_link8')
R(dc_test_top_cell_1_link8, L4_2, [(122.64,443.435,127.64,443.885), (475,507.775,480,508.225)])
P(dc_test_top_cell_1_link8, L4_2, [(127.64,443.435),(455.18,443.435),(456.775,443.59),(458.33,443.99),(459.8,444.63),(461.155,445.495),(462.355,446.555),(463.375,447.795),(464.19,449.18),(464.78,450.67),(465.1,452.06),(465.225,453.48),(465.225,498.17),(465.345,499.53),(465.65,500.86),(466.14,502.13),(466.895,503.465),(467.85,504.665),(468.98,505.705),(470.26,506.55),(471.655,507.185),(473.47,507.655),(475,507.775),(475,508.225),(473.4,508.1),(471.67,507.67),(470.2,507.03),(468.845,506.165),(467.52,504.975),(466.525,503.72),(465.66,502.16),(465.17,500.82),(464.9,499.6),(464.775,498.18),(464.775,453.49),(464.68,452.3),(464.35,450.8),(463.86,449.53),(463.2,448.335),(462.15,446.995),(461.02,445.955),(459.74,445.11),(458.345,444.475),(456.865,444.065),(455.17,443.885),(127.64,443.885)])
R(dc_test_top_cell_1_link8, L4_9, [(455,441.435,467.225,453.66), (462.775,498,475,510.225)])
P(dc_test_top_cell_1_link8, L4_9, [(122.64,445.885),(122.64,443.885),(122.64,443.435),(122.64,441.435),(127.64,441.435),(127.64,443.435),(127.64,443.885),(127.64,445.885)],
  [(480,505.775),(480,507.775),(480,508.225),(480,510.225),(475,510.225),(475,508.225),(475,507.775),(475,505.775)],
  [(127.64,441.435),(455.215,441.435),(457.54,441.7),(460.74,442.865),(463.49,444.865),(465.48,447.365),(466.81,450.495),(467.225,453.445),(467.3,499.08),(468.2,501.77),(469.9,503.87),(472.215,505.26),(475,505.775),(475,510.225),(472.875,510.04),(471.02,509.56),(469.26,508.795),(467.475,507.635),(465.915,506.18),(464.745,504.66),(463.19,501.165),(462.775,498.215),(462.7,452.58),(461.99,450.25),(460.595,448.26),(458.77,446.86),(456.615,446.055),(455.135,445.885),(127.64,445.885)])

dc_test_top_cell_1 = lib.new_cell('DC_test_top_cell_1')
dc_test_top_cell_1.add(gdstk.Reference(dc_test_top_cell_1fa, (500,0), rotation=pi, x_reflection=True))
dc_test_top_cell_1.add(gdstk.Reference(dc_test_top_cell_1fa, (0,0)))
dc_test_top_cell_1.add(gdstk.Reference(dc_test_top_cell_1dc, (80,170)))
dc_test_top_cell_1.add(gdstk.Reference(dc_test_top_cell_1mzi, (100,450), rotation=pi, x_reflection=True))
dc_test_top_cell_1.add(gdstk.Reference(dc_test_top_cell_1_link1, (0,0)))
dc_test_top_cell_1.add(gdstk.Reference(dc_test_top_cell_1_link2, (0,0)))
dc_test_top_cell_1.add(gdstk.Reference(dc_test_top_cell_1_link3, (0,0)))
dc_test_top_cell_1.add(gdstk.Reference(dc_test_top_cell_1_link4, (0,0)))
dc_test_top_cell_1.add(gdstk.Reference(dc_test_top_cell_1_link5, (0,0)))
dc_test_top_cell_1.add(gdstk.Reference(dc_test_top_cell_1_link6, (0,0)))
dc_test_top_cell_1.add(gdstk.Reference(dc_test_top_cell_1_link7, (0,0)))
dc_test_top_cell_1.add(gdstk.Reference(dc_test_top_cell_1_link8, (0,0)))

lib.write_gds('DC_test_top_cell_1.gds')
